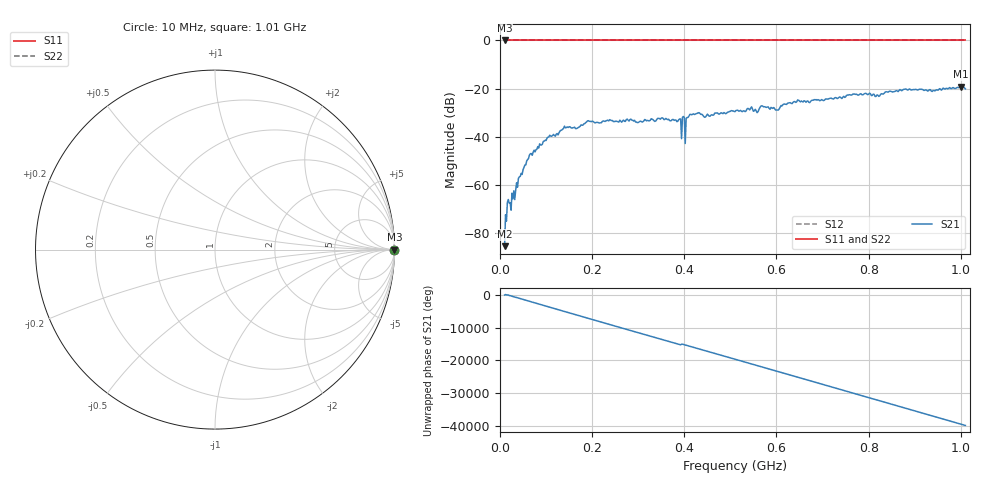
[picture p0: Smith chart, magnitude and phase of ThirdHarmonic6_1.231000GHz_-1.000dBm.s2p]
! 8/16/2025 1:00:11 PM
! C:\ANRITSUVNA\TEMP\TEMP.S2P
! CHANNEL.1
! TR.MEASUREMENT
! RAW.DATA
! RF.CORRECTION.OFF
! AVERAGING.OFF
! IF.BANDWIDTH: 5KHZ
! SWEEPTYPE:  FREQ.SWEEP(Linear)
! Reference Plane Port Info
! PORT:  PORT1  PORT2
! DISTANCE:  0  m  0  m
! TIME:  0  s  0  s
! PHASE.OFFSET:  0  deg.  0  deg.
! LOSS:  0  dB  0  dB
! REF.LOSS:  0  dB  0  dB
! REF.FREQ:  0  Hz  0  Hz
! Power Info
! POWER:  -20  dBm  -20  dBm
! EFF.POWER:  -20  dBm  -20  dBm
! SOURCE.ATTEN:  0  dB  0  dB
! TEST.ATTEN:  0  dB  0  dB
# GHZ S RI R 50.0
! FREQ.GHZ  S11RE  S11IM  S21RE  S21IM  S12RE  S12IM  S22RE  S22IM
!; PortSelection: Port_12
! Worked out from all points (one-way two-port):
!   501 points, 10 MHz to 1.01 GHz, reference 50 ohm
!   highest |S21| = -19.17 dB at 1 GHz (marker M1); lowest = -85.4 dB at 10 MHz (marker M2)
!   lowest |S11| = 0.0 dB at 10 MHz (marker M3)
!   |S11| at or under -10 dB: nowhere
!   |S22| runs from 0.0 to 0.0 dB; largest |S21 - S12| = 1.1
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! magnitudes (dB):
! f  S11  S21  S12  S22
! 10 MHz  0.0  -85.4  0.0  0.0
! 16 MHz  0.0  -67.2  0.0  0.0
! 28 MHz  0.0  -65.8  0.0  0.0
! 40 MHz  0.0  -57.2  0.0  0.0
! 64 MHz  0.0  -47.5  0.0  0.0
! 106 MHz  0.0  -40.0  0.0  0.0
! 142 MHz  0.0  -36.3  0.0  0.0
! 178 MHz  0.0  -35.2  0.0  0.0
! 344 MHz  0.0  -32.3  0.0  0.0
! 388 MHz  0.0  -32.9  0.0  0.0
! 396 MHz  0.0  -31.9  0.0  0.0
! 398 MHz  0.0  -31.6  0.0  0.0
! 416 MHz  0.0  -30.8  0.0  0.0
! 510 MHz  0.0  -29.5  0.0  0.0
! 556 MHz  0.0  -29.2  0.0  0.0
! 570 MHz  0.0  -27.3  0.0  0.0
! 602 MHz  0.0  -28.9  0.0  0.0
! 626 MHz  0.0  -26.0  0.0  0.0
! 678 MHz  0.0  -24.8  0.0  0.0
! 844 MHz  0.0  -21.2  0.0  0.0
! 1 GHz  0.0  -19.2  0.0  0.0
! 1.01 GHz  0.0  -20.1  0.0  0.0
